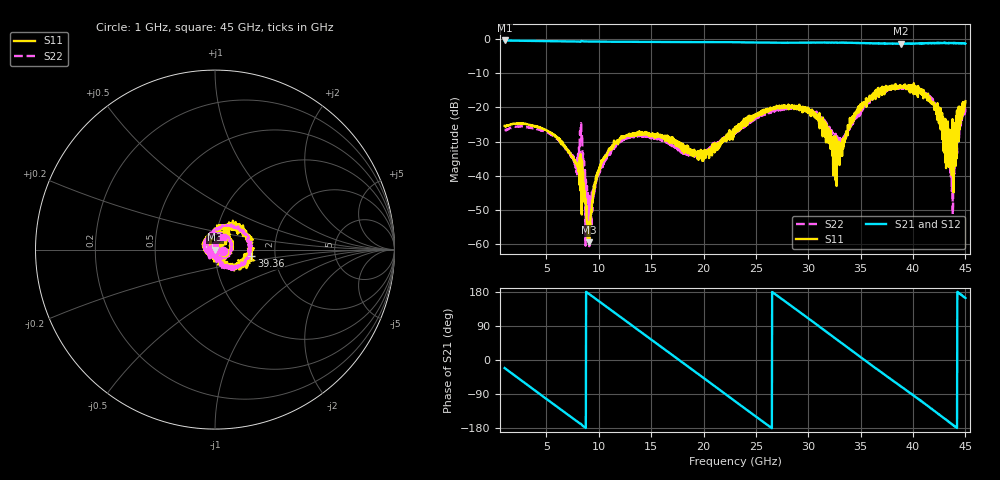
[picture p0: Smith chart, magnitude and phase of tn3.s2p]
!Keysight Technologies,N5247B,MY61255062,A.19.80.06
!Date: Tuesday, May 26, 2026 11:09:55
!Correction: S11(C  2-Port  )
!S21(C  2-Port  )
!S12(C  2-Port  )
!S22(C  2-Port  )
!S2P File: Measurements: S11, S21, S12, S22:
# Hz S  dB  R 50
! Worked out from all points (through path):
!   1601 points, 1 GHz to 45 GHz, reference 50 ohm
!   highest |S21| = -0.47 dB at 1 GHz (marker M1); lowest = -1.5 dB at 38.84 GHz (marker M2)
!   group delay of S21, straight-line fit = 56.4 ps
!   lowest |S11| = -59.5 dB at 9.085 GHz (marker M3), VSWR 1.00, Z = 50 - j0.106 ohm
!   |S11| at or under -10 dB: start of sweep to end of sweep
!   |S22| runs from -60.6 to -13.7 dB; largest |S21 - S12| = 0.016
!   S11 on the Smith chart (normalised r, x): 1 GHz: 1.11, -0.03; 39.36 GHz: 1.50, -0.11; 45 GHz: 1.10, +0.24
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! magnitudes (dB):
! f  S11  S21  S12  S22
! 1 GHz  -25.5  -0.5  -0.5  -26.5
! 5.647 GHz  -28.0  -0.7  -0.7  -28.3
! 7.848 GHz  -36.6  -0.8  -0.8  -35.4
! 8.342 GHz  -40.3  -0.6  -0.6  -28.0
! 8.865 GHz  -53.6  -0.8  -0.8  -43.0
! 9.085 GHz  -59.5  -0.8  -0.8  -60.6
! 9.745 GHz  -41.4  -0.8  -0.8  -41.8
! 11.01 GHz  -32.5  -0.8  -0.8  -33.9
! 15.69 GHz  -27.9  -0.9  -0.9  -29.5
! 19.81 GHz  -32.7  -1.0  -1.0  -33.4
! 23 GHz  -25.8  -1.0  -1.0  -27.7
! 26.93 GHz  -20.2  -1.1  -1.1  -20.7
! 30.34 GHz  -20.7  -1.1  -1.1  -21.0
! 32.76 GHz  -34.0  -1.1  -1.1  -28.5
! 34.77 GHz  -21.4  -1.2  -1.2  -22.0
! 37.69 GHz  -14.6  -1.4  -1.3  -14.5
! 38.84 GHz  -14.0  -1.5  -1.4  -14.5
! 39.36 GHz  -13.8  -1.4  -1.4  -14.6
! 42.39 GHz  -22.7  -1.3  -1.2  -20.8
! 43.3 GHz  -31.8  -1.2  -1.3  -28.6
! 43.73 GHz  -30.8  -1.3  -1.2  -42.8
! 45 GHz  -18.2  -1.4  -1.4  -21.5
